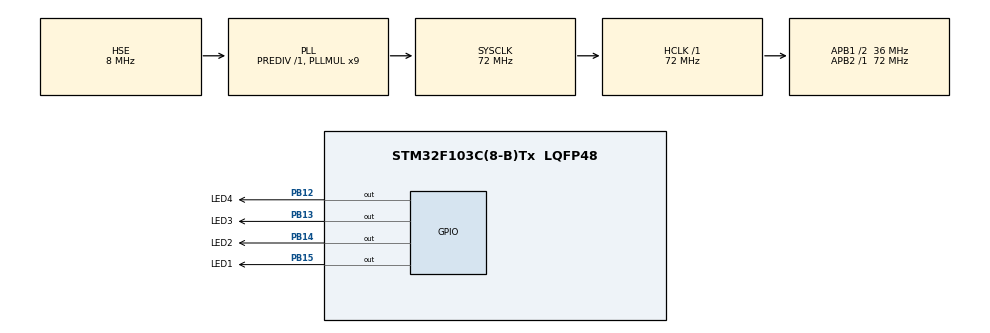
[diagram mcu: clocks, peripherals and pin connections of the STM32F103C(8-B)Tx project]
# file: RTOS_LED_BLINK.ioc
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FREERTOS.Tasks01=defaultTask,0,128,StartDefaultTask,Default,NULL,Dynamic,NULL,NULL;ctrlLED1Task,0,128,ctrlLED1,Default,NULL,Dynamic,NULL,NULL;ctrlLED2Task,1,128,ctrlLED2,Default,NULL,Dynamic,NULL,NULL
FREERTOS.configTOTAL_HEAP_SIZE=3600
Mcu.Family=STM32F1
Mcu.Name=STM32F103C(8-B)Tx
Mcu.Package=LQFP48
NVIC.PriorityGroup=NVIC_PRIORITYGROUP_4
NVIC.TIM4_IRQn=true\:15\:0\:false\:false\:true\:false\:false\:true\:true
NVIC.TimeBase=TIM4_IRQn
NVIC.TimeBaseIP=TIM4
PA13.Mode=Serial_Wire
PA13.Signal=SYS_JTMS-SWDIO
PA14.Mode=Serial_Wire
PA14.Signal=SYS_JTCK-SWCLK
PB12.GPIO_Label=LED4
PB12.Signal=GPIO_Output
PB13.GPIO_Label=LED3
PB13.Signal=GPIO_Output
PB14.GPIO_Label=LED2
PB14.Signal=GPIO_Output
PB15.GPIO_Label=LED1
PB15.Signal=GPIO_Output
PB3.Signal=SYS_JTDO-TRACESWO
PD0-OSC_IN.Mode=HSE-External-Oscillator
PD0-OSC_IN.Signal=RCC_OSC_IN
PD1-OSC_OUT.Mode=HSE-External-Oscillator
PD1-OSC_OUT.Signal=RCC_OSC_OUT
ProjectManager.HeapSize=0x200
ProjectManager.StackSize=0x400
ProjectManager.TargetToolchain=STM32CubeIDE
RCC.AHBFreq_Value=72000000
RCC.APB1CLKDivider=RCC_HCLK_DIV2
RCC.APB1Freq_Value=36000000
RCC.APB1TimFreq_Value=72000000
RCC.APB2Freq_Value=72000000
RCC.APB2TimFreq_Value=72000000
RCC.HCLKFreq_Value=72000000
RCC.PLLMUL=RCC_PLL_MUL9
RCC.PLLSourceVirtual=RCC_PLLSOURCE_HSE
RCC.SYSCLKFreq_VALUE=72000000
RCC.SYSCLKSource=RCC_SYSCLKSOURCE_PLLCLK
RCC.USBFreq_Value=72000000
VP_FREERTOS_VS_CMSIS_V1.Mode=CMSIS_V1
VP_SYS_VS_tim4.Mode=TIM4
board=custom

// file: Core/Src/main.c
/* USER CODE BEGIN Header */
/**
  ******************************************************************************
  * @file           : main.c
  * @brief          : Main program body
  ******************************************************************************
  * @attention
  *
  * Copyright (c) 2024 STMicroelectronics.
  * All rights reserved.
  *
  * This software is licensed under terms that can be found in the LICENSE file
  * in the root directory of this software component.
  * If no LICENSE file comes with this software, it is provided AS-IS.
  *
  ******************************************************************************
  */
/* USER CODE END Header */
#include "main.h"
#include "cmsis_os.h"

osThreadId defaultTaskHandle;
osThreadId ctrlLED1TaskHandle;
osThreadId ctrlLED2TaskHandle;

void SystemClock_Config(void);
static void MX_GPIO_Init(void);
void StartDefaultTask(void const * argument);
void ctrlLED1(void const * argument);
void ctrlLED2(void const * argument);

int main(void)
{

  /* MCU Configuration--------------------------------------------------------*/

  /* Reset of all peripherals, Initializes the Flash interface and the Systick. */
  HAL_Init();

  /* Configure the system clock */
  SystemClock_Config();

  /* Initialize all configured peripherals */
  MX_GPIO_Init();

  /* Create the thread(s) */
  /* definition and creation of defaultTask */
  osThreadDef(defaultTask, StartDefaultTask, osPriorityNormal, 0, 128);
  defaultTaskHandle = osThreadCreate(osThread(defaultTask), NULL);

  /* definition and creation of ctrlLED1Task */
  osThreadDef(ctrlLED1Task, ctrlLED1, osPriorityNormal, 0, 128);
  ctrlLED1TaskHandle = osThreadCreate(osThread(ctrlLED1Task), NULL);

  /* definition and creation of ctrlLED2Task */
  osThreadDef(ctrlLED2Task, ctrlLED2, osPriorityAboveNormal, 0, 128);
  ctrlLED2TaskHandle = osThreadCreate(osThread(ctrlLED2Task), NULL);

  /* Start scheduler */
  osKernelStart();

  /* We should never get here as control is now taken by the scheduler */

  /* Infinite loop */
  while (1)
  {

  }
}

void SystemClock_Config(void)
{
  RCC_OscInitTypeDef RCC_OscInitStruct = {0};
  RCC_ClkInitTypeDef RCC_ClkInitStruct = {0};

  /** Initializes the RCC Oscillators according to the specified parameters
  * in the RCC_OscInitTypeDef structure.
  */
  RCC_OscInitStruct.OscillatorType = RCC_OSCILLATORTYPE_HSE;
  RCC_OscInitStruct.HSEState = RCC_HSE_ON;
  RCC_OscInitStruct.HSEPredivValue = RCC_HSE_PREDIV_DIV1;
  RCC_OscInitStruct.HSIState = RCC_HSI_ON;
  RCC_OscInitStruct.PLL.PLLState = RCC_PLL_ON;
  RCC_OscInitStruct.PLL.PLLSource = RCC_PLLSOURCE_HSE;
  RCC_OscInitStruct.PLL.PLLMUL = RCC_PLL_MUL9;
  if (HAL_RCC_OscConfig(&RCC_OscInitStruct) != HAL_OK)
  {
    Error_Handler();
  }

  /** Initializes the CPU, AHB and APB buses clocks
  */
  RCC_ClkInitStruct.ClockType = RCC_CLOCKTYPE_HCLK|RCC_CLOCKTYPE_SYSCLK
                              |RCC_CLOCKTYPE_PCLK1|RCC_CLOCKTYPE_PCLK2;
  RCC_ClkInitStruct.SYSCLKSource = RCC_SYSCLKSOURCE_PLLCLK;
  RCC_ClkInitStruct.AHBCLKDivider = RCC_SYSCLK_DIV1;
  RCC_ClkInitStruct.APB1CLKDivider = RCC_HCLK_DIV2;
  RCC_ClkInitStruct.APB2CLKDivider = RCC_HCLK_DIV1;

  if (HAL_RCC_ClockConfig(&RCC_ClkInitStruct, FLASH_LATENCY_2) != HAL_OK)
  {
    Error_Handler();
  }
}

static void MX_GPIO_Init(void)
{
  GPIO_InitTypeDef GPIO_InitStruct = {0};

  /* GPIO Ports Clock Enable */
  __HAL_RCC_GPIOD_CLK_ENABLE();
  __HAL_RCC_GPIOB_CLK_ENABLE();
  __HAL_RCC_GPIOA_CLK_ENABLE();

  /*Configure GPIO pin Output Level */
  HAL_GPIO_WritePin(GPIOB, LED4_Pin|LED3_Pin|LED2_Pin|LED1_Pin, GPIO_PIN_RESET);

  /*Configure GPIO pins : LED4_Pin LED3_Pin LED2_Pin LED1_Pin */
  GPIO_InitStruct.Pin = LED4_Pin|LED3_Pin|LED2_Pin|LED1_Pin;
  GPIO_InitStruct.Mode = GPIO_MODE_OUTPUT_PP;
  GPIO_InitStruct.Pull = GPIO_NOPULL;
  GPIO_InitStruct.Speed = GPIO_SPEED_FREQ_LOW;
  HAL_GPIO_Init(GPIOB, &GPIO_InitStruct);

}

void StartDefaultTask(void const * argument)
{
  for(;;)
  {
    osDelay(1);
  }
}

void ctrlLED1(void const * argument)
{
  /* USER CODE BEGIN ctrlLED1 */
  /* Infinite loop */
	for(;;)
	  {
	    // 1. Turn the Blue LED on
	    HAL_GPIO_WritePin(LED3_GPIO_Port, LED3_Pin, GPIO_PIN_SET);  // Assuming LED3 is Blue

	    // 2. Simulate task execution - toggle the Green LED for four seconds
	    uint32_t startTime = HAL_GetTick();
	    while (HAL_GetTick() - startTime < 4000)  // 4 seconds
	    {
	      HAL_GPIO_TogglePin(LED1_GPIO_Port, LED1_Pin);  // Assuming LED1 is Green
	      osDelay(25);  // Toggle at 20 Hz (1000 ms / 20 = 50 ms period, 25 ms on, 25 ms off)
	    }

	    // 3. Turn the Green LED off
	    HAL_GPIO_WritePin(LED1_GPIO_Port, LED1_Pin, GPIO_PIN_RESET);

	    // 4. Turn the Blue LED off
	    HAL_GPIO_WritePin(LED3_GPIO_Port, LED3_Pin, GPIO_PIN_RESET);

	    // 5. Suspend for six seconds
	    osDelay(6000);
	  }
  /* USER CODE END ctrlLED1 */
}

void ctrlLED2(void const * argument)
{
  /* USER CODE BEGIN ctrlLED2 */
  /* Infinite loop */
	for(;;)
	  {
	    // 1. Turn the Orange LED on
	    HAL_GPIO_WritePin(LED4_GPIO_Port, LED4_Pin, GPIO_PIN_SET);  // Assuming LED4 is Orange

	    // 2. Simulate task execution - toggle the Red LED for 0.5 seconds
	    uint32_t startTime = HAL_GetTick();
	    while (HAL_GetTick() - startTime < 500)  // 0.5 seconds
	    {
	      HAL_GPIO_TogglePin(LED2_GPIO_Port, LED2_Pin);  // Assuming LED2 is Red
	      osDelay(25);  // Toggle at 20 Hz (1000 ms / 20 = 50 ms period, 25 ms on, 25 ms off)
	    }

	    // 3. Turn the Red LED off
	    HAL_GPIO_WritePin(LED2_GPIO_Port, LED2_Pin, GPIO_PIN_RESET);

	    // 4. Turn the Orange LED off
	    HAL_GPIO_WritePin(LED4_GPIO_Port, LED4_Pin, GPIO_PIN_RESET);

	    // 5. Suspend for 1.5 seconds
	    osDelay(1500);
	  }
  /* USER CODE END ctrlLED2 */
}

void HAL_TIM_PeriodElapsedCallback(TIM_HandleTypeDef *htim)
{
  if (htim->Instance == TIM4) {
    HAL_IncTick();
  }
}

void Error_Handler(void)
{
  __disable_irq();
  while (1)
  {
  }
}
